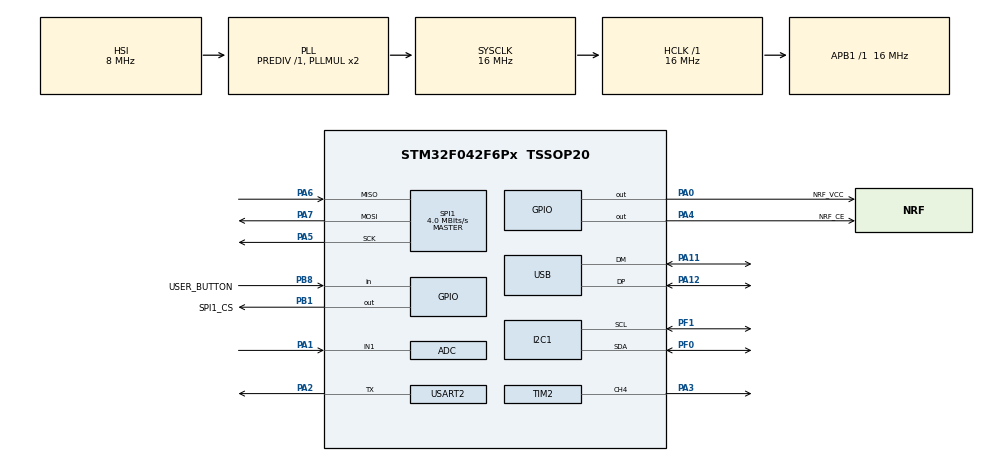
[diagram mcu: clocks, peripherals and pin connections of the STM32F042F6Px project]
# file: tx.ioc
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ADC.ClockPrescaler=ADC_CLOCK_ASYNC_DIV1
ADC.ContinuousConvMode=DISABLE
ADC.DMAContinuousRequests=DISABLE
ADC.DataAlign=ADC_DATAALIGN_RIGHT
ADC.DiscontinuousConvMode=DISABLE
ADC.EOCSelection=ADC_EOC_SINGLE_CONV
ADC.EnableAnalogWatchDog=false
ADC.ExternalTrigConv=ADC_SOFTWARE_START
ADC.ExternalTrigConvEdge=ADC_EXTERNALTRIGCONVEDGE_NONE
ADC.LowPowerAutoPowerOff=DISABLE
ADC.LowPowerAutoWait=DISABLE
ADC.Overrun=ADC_OVR_DATA_PRESERVED
ADC.Resolution=ADC_RESOLUTION_8B
ADC.SamplingTime=ADC_SAMPLETIME_71CYCLES_5
ADC.ScanConvMode=ADC_SCAN_DIRECTION_FORWARD
I2C1.Timing=0x00303D5B
IWDG.Prescaler=IWDG_PRESCALER_32
Mcu.Family=STM32F0
Mcu.Name=STM32F042F6Px
Mcu.Package=TSSOP20
NVIC.RTC_IRQn=true\:1\:0\:true\:false\:true\:true
NVIC.TIM17_IRQn=true\:0\:0\:false\:false\:true\:true
NVIC.USB_IRQn=true\:0\:0\:false\:false\:true\:false
PA0.GPIO_Label=NRF_VCC
PA0.GPIO_ModeDefaultOutputPP=GPIO_MODE_OUTPUT_OD
PA0.PinState=GPIO_PIN_SET
PA0.Signal=GPIO_Output
PA1.Mode=IN1
PA1.Signal=ADC_IN1
PA11.Mode=Device
PA11.Signal=USB_DM
PA12.Mode=Device
PA12.Signal=USB_DP
PA13.Mode=Serial_Wire
PA13.Signal=SYS_SWDIO
PA14.Mode=Serial_Wire
PA14.Signal=SYS_SWCLK
PA2.Mode=Half_duplex(single_wire_mode)
PA2.Signal=USART2_TX
PA3.Signal=S_TIM2_CH4
PA4.GPIO_Label=NRF_CE
PA4.Signal=GPIO_Output
PA5.Mode=Full_Duplex_Master
PA5.Signal=SPI1_SCK
PA6.Mode=Full_Duplex_Master
PA6.Signal=SPI1_MISO
PA7.Mode=Full_Duplex_Master
PA7.Signal=SPI1_MOSI
PB1.GPIO_Label=SPI1_CS
PB1.PinState=GPIO_PIN_SET
PB1.Signal=GPIO_Output
PB8.GPIO_Label=USER_BUTTON
PB8.GPIO_PuPd=GPIO_NOPULL
PB8.Signal=GPIO_Input
PF0-OSC_IN.Mode=I2C
PF0-OSC_IN.Signal=I2C1_SDA
PF1-OSC_OUT.Mode=I2C
PF1-OSC_OUT.Signal=I2C1_SCL
ProjectManager.HeapSize=0x200
ProjectManager.StackSize=0x400
ProjectManager.TargetToolchain=MDK-ARM V5
RCC.AHBFreq_Value=16000000
RCC.APB1Freq_Value=16000000
RCC.APB1TimFreq_Value=16000000
RCC.HCLKFreq_Value=16000000
RCC.I2c1ClockSelection=RCC_I2C1CLKSOURCE_SYSCLK
RCC.SYSCLKFreq_VALUE=16000000
RCC.SYSCLKSource=RCC_SYSCLKSOURCE_PLLCLK
RTC.Alarm=RTC_ALARM_A
RTC.AlarmMaskDateWeekDay=RTC_ALARMMASK_DATEWEEKDAY
RTC.AsynchPrediv=18
RTC.Format=RTC_FORMAT_BIN
RTC.Seconds_A=5
RTC.SynchPrediv=0
SH.S_TIM2_CH4.0=TIM2_CH4,PWM Generation4 CH4
SPI1.BaudRatePrescaler=SPI_BAUDRATEPRESCALER_4
SPI1.CalculateBaudRate=4.0 MBits/s
SPI1.DataSize=SPI_DATASIZE_8BIT
SPI1.Direction=SPI_DIRECTION_2LINES
SPI1.Mode=SPI_MODE_MASTER
SPI1.VirtualType=VM_MASTER
TIM17.Period=16666
TIM17.Prescaler=15
TIM2.Channel-PWM\ Generation4\ CH4=TIM_CHANNEL_4
TIM2.Period=255
TIM2.Prescaler=799
USART2.BaudRate=115200
USART2.DMADisableonRxErrorParam=UART_ADVFEATURE_DMA_DISABLEONRXERROR
USART2.Mode=MODE_TX
USART2.OverrunDisableParam=UART_ADVFEATURE_OVERRUN_DISABLE
USART2.TxPinLevelInvertParam=UART_ADVFEATURE_TXINV_DISABLE
USART2.VirtualMode-Half_duplex(single_wire_mode)=VM_ASYNC
USB_DEVICE.APP_RX_DATA_SIZE=256
USB_DEVICE.APP_TX_DATA_SIZE=256
USB_DEVICE.CLASS_NAME_FS=CDC
USB_DEVICE.MANUFACTURER_STRING=dekuNukem
USB_DEVICE.PID_CDC_FS=42069
USB_DEVICE.PRODUCT_STRING_CDC_FS=Daytripper Virtual Serial Port
USB_DEVICE.VID=6998
USB_DEVICE.VirtualMode=Cdc
USB_DEVICE.VirtualModeFS=Cdc_FS
VP_IWDG_VS_IWDG.Mode=IWDG_Activate
VP_RTC_VS_RTC_Activate.Mode=RTC_Enabled
VP_RTC_VS_RTC_Alarm_A_Intern.Mode=Alarm A
VP_RTC_VS_RTC_Calendar.Mode=RTC_Calendar
VP_SYS_VS_PINREMAP.Mode=PINREMAP
VP_TIM17_VS_ClockSourceINT.Mode=Enable_Timer
VP_TIM2_VS_ClockSourceINT.Mode=Internal
VP_USB_DEVICE_VS_USB_DEVICE_CDC_FS.Mode=CDC_FS
board=custom

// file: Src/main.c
/**
  ******************************************************************************
  * @file           : main.c
  * @brief          : Main program body
  ******************************************************************************
  * This notice applies to any and all portions of this file
  * that are not between comment pairs USER CODE BEGIN and
  * USER CODE END. Other portions of this file, whether
  * inserted by the user or by software development tools
  * are owned by their respective copyright owners.
  *
  * Copyright (c) 2020 STMicroelectronics International N.V.
  * All rights reserved.
  *
  * Redistribution and use in source and binary forms, with or without
  * modification, are permitted, provided that the following conditions are met:
  *
  * 1. Redistribution of source code must retain the above copyright notice,
  *    this list of conditions and the following disclaimer.
  * 2. Redistributions in binary form must reproduce the above copyright notice,
  *    this list of conditions and the following disclaimer in the documentation
  *    and/or other materials provided with the distribution.
  * 3. Neither the name of STMicroelectronics nor the names of other
  *    contributors to this software may be used to endorse or promote products
  *    derived from this software without specific written permission.
  * 4. This software, including modifications and/or derivative works of this
  *    software, must execute solely and exclusively on microcontroller or
  *    microprocessor devices manufactured by or for STMicroelectronics.
  * 5. Redistribution and use of this software other than as permitted under
  *    this license is void and will automatically terminate your rights under
  *    this license.
  *
  * THIS SOFTWARE IS PROVIDED BY STMICROELECTRONICS AND CONTRIBUTORS "AS IS"
  * AND ANY EXPRESS, IMPLIED OR STATUTORY WARRANTIES, INCLUDING, BUT NOT
  * LIMITED TO, THE IMPLIED WARRANTIES OF MERCHANTABILITY, FITNESS FOR A
  * PARTICULAR PURPOSE AND NON-INFRINGEMENT OF THIRD PARTY INTELLECTUAL PROPERTY
  * RIGHTS ARE DISCLAIMED TO THE FULLEST EXTENT PERMITTED BY LAW. IN NO EVENT
  * SHALL STMICROELECTRONICS OR CONTRIBUTORS BE LIABLE FOR ANY DIRECT, INDIRECT,
  * INCIDENTAL, SPECIAL, EXEMPLARY, OR CONSEQUENTIAL DAMAGES (INCLUDING, BUT NOT
  * LIMITED TO, PROCUREMENT OF SUBSTITUTE GOODS OR SERVICES; LOSS OF USE, DATA,
  * OR PROFITS; OR BUSINESS INTERRUPTION) HOWEVER CAUSED AND ON ANY THEORY OF
  * LIABILITY, WHETHER IN CONTRACT, STRICT LIABILITY, OR TORT (INCLUDING
  * NEGLIGENCE OR OTHERWISE) ARISING IN ANY WAY OUT OF THE USE OF THIS SOFTWARE,
  * EVEN IF ADVISED OF THE POSSIBILITY OF SUCH DAMAGE.
  *
  ******************************************************************************
  */
#include "main.h"
#include "stm32f0xx_hal.h"
#include "usb_device.h"

/* USER CODE BEGIN Includes */
#include <stdlib.h>
#include "shared.h"
#include "helpers.h"
#include "nrf24.h"
#include "VL53L0X.h"
#include "animation.h"
#include "sleepbutton.h"
#include "ee.h"
#include "my_usb.h"

#define STATE_IDLE 0
#define STATE_TRIGGERED 1

/* USER CODE END Includes */

ADC_HandleTypeDef hadc;

I2C_HandleTypeDef hi2c1;

IWDG_HandleTypeDef hiwdg;

RTC_HandleTypeDef hrtc;

SPI_HandleTypeDef hspi1;

TIM_HandleTypeDef htim2;
TIM_HandleTypeDef htim17;

UART_HandleTypeDef huart2;

/* USER CODE BEGIN PV */
/* Private variables ---------------------------------------------------------*/
uint8_t data_array[NRF_PAYLOAD_SIZE];
uint8_t rx_address[5] = {0xBE,0xAD,0xA5,0xBA,0xBE};
uint8_t tx_address[5] = {0xDA,0xBB,0xED,0xC0,0x0C};

uint16_t baseline, diff_threshold, this_reading;
int16_t diff;
uint8_t button_result;
uint8_t new_stat_packet = 1;
uint8_t current_state = STATE_IDLE;
uint16_t vbat_mV;
uint16_t power_on_time_5s;
uint16_t tof_sleep_ms;

/* USER CODE END PV */

void SystemClock_Config(void);
static void MX_GPIO_Init(void);
static void MX_USART2_UART_Init(void);
static void MX_I2C1_Init(void);
static void MX_SPI1_Init(void);
static void MX_RTC_Init(void);
static void MX_TIM2_Init(void);
static void MX_TIM17_Init(void);
static void MX_ADC_Init(void);
static void MX_IWDG_Init(void);

void HAL_TIM_MspPostInit(TIM_HandleTypeDef *htim);

/* USER CODE BEGIN PFP */
/* Private function prototypes -----------------------------------------------*/

/* USER CODE END PFP */

/* USER CODE BEGIN 0 */
int fputc(int ch, FILE *f)
{
  my_usb_putchar((uint8_t)ch);
  if(daytripper_config.print_debug_info)
    HAL_UART_Transmit(&huart2, (unsigned char *)&ch, 1, 10);
  return ch;
}

void HAL_TIM_PeriodElapsedCallback(TIM_HandleTypeDef *htim)
{
  if(htim->Instance == TIM17)
    animation_update();
}

/* USER CODE END 0 */

int main(void)
{

  /* MCU Configuration----------------------------------------------------------*/

  /* Reset of all peripherals, Initializes the Flash interface and the Systick. */
  HAL_Init();

  /* Configure the system clock */
  SystemClock_Config();

  /* Initialize all configured peripherals */
  MX_GPIO_Init();
  MX_USART2_UART_Init();
  MX_I2C1_Init();
  MX_SPI1_Init();
  MX_TIM2_Init();
  MX_TIM17_Init();
  MX_ADC_Init();
  MX_USB_DEVICE_Init();
  /* USER CODE BEGIN 2 */
  my_usb_init();
  MX_RTC_Init();
  HAL_RTC_DeactivateAlarm(&hrtc, RTC_ALARM_A);
  NRF_ON();
  VL53L0X_init();
  dt_conf_load_default(&daytripper_config);
  printf("\n\ndaytripper TX\ndekuNukem 2020\n\n");
  dt_conf_load(&daytripper_config);
  dt_conf_print(&daytripper_config);
  animation_init(&htim17, &htim2);
  start_animation(ANIMATION_TYPE_BREATHING);
  HAL_Delay(2000);
  check_battery(&vbat_mV);

  // this should be behind check_battery, so it can completely shut down in low battery situation
  MX_IWDG_Init();
  /* USER CODE END 2 */

  /* Infinite loop */
  /* USER CODE BEGIN WHILE */
  setTimeout(500);
  // in microseconds, longer time better accruacy, but consumes more power
  setMeasurementTimingBudget(daytripper_config.tof_timing_budget_ms * 1000); // default 33000

  // printf("initializing NRF...");
  nrf24_init();
  nrf24_config(NRF_CHANNEL, NRF_PAYLOAD_SIZE);
  nrf24_tx_address(tx_address);
  nrf24_rx_address(rx_address);
  HAL_GPIO_WritePin(NRF_CE_GPIO_Port, NRF_CE_Pin, GPIO_PIN_RESET);
  HAL_GPIO_WritePin(SPI1_CS_GPIO_Port, SPI1_CS_Pin, GPIO_PIN_SET);
  // printf(" done\n");

  tof_calibrate(&baseline, &diff_threshold);
  start_animation(ANIMATION_TYPE_CONST_OFF);

  // while(1)
  // {
  //   HAL_IWDG_Refresh(&hiwdg);
  //   printf("hello world %d\n", HAL_GetTick());
  //   check_battery(&vbat_mV);
  //   // rtc_sleep(&hrtc, 500);
  //   char* result = my_usb_readline();
  //   if(result != NULL)
  //     printf("received: %s\n", result);
  //   HAL_Delay(500);
  // }

  while (1)
  {
    HAL_IWDG_Refresh(&hiwdg);
    parse_cmd(my_usb_readline());

    // every 5 seconds
    if(rtc_counter > 5000)
    {
      power_on_time_5s++; // update power-on counter
      if(power_on_time_5s % 120 == 0) // 5 * 120 = 600s = 10mins, send stat update every 10 minutes
        new_stat_packet = 1;
      check_battery(&vbat_mV);
      rtc_counter = 0;
    }
  /* USER CODE END WHILE */

  /* USER CODE BEGIN 3 */
    button_result = button_update(HAL_GPIO_ReadPin(USER_BUTTON_GPIO_Port, USER_BUTTON_Pin), rtc_sleep_count_ms);
    if(button_result == 1) // short press
    {
      iwdg_wait(20, ANIMATION_TYPE_BREATHING);
      tof_calibrate(&baseline, &diff_threshold);
      iwdg_wait(20, ANIMATION_TYPE_CONST_OFF);
      current_state = STATE_IDLE;
    }
    else if(button_result == 2) // long press
      tx_test();

    if(new_stat_packet)
    {
      build_packet_stat(data_array, vbat_mV, power_on_time_5s);
      printf("sending stat... ");
      send_packet(data_array);
      new_stat_packet = 0;
    }

    // how long to sleep while wating for ToF sensor measurement
    tof_sleep_ms = daytripper_config.tof_timing_budget_ms - 1;
    if(vbat_mV > 4300) // if charging, dont sleep while wating for ToF measurement, but still update the time count
    {
      run_time_update(tof_sleep_ms + 5);
      tof_sleep_ms = 0;
    }

    // get a new distance reading from laser ToF sensor
    this_reading = get_single_distance_reading(&is_reading_valid, tof_sleep_ms);
    diff = abs(baseline - this_reading);
    if(is_reading_valid == 0)
      goto sleep;

    // if the change in distance is big enough...
    if(current_state == STATE_IDLE && diff > diff_threshold)
    {
      uint8_t count = 0;
      uint16_t this;
      printf(">> b:%d t0:%d ", baseline, this_reading);
      // .. take another reading back-to-back, to make sure it's not sensor noise
      while(count < daytripper_config.nr_sensitivity)
      {
      	HAL_IWDG_Refresh(&hiwdg);
        this = get_single_distance_reading(&is_reading_valid, tof_sleep_ms);
        printf("t%d:%d ", count+1, this);
        if(is_reading_valid == 0)
          continue;
        if(abs(baseline - this) <= diff_threshold)
        {
          printf("X\n");
          goto sleep;
        }
        count++;
      }
      printf("\n");
      build_packet_trig(data_array, baseline, this_reading);
      send_packet(data_array);
      if(daytripper_config.use_led)
        start_animation(ANIMATION_TYPE_CONST_ON);
      current_state = STATE_TRIGGERED;
    }
    else if(current_state == STATE_TRIGGERED && diff < diff_threshold)
    {
      start_animation(ANIMATION_TYPE_CONST_OFF);
      current_state = STATE_IDLE;
    }

    sleep:
    HAL_IWDG_Refresh(&hiwdg);
    nrf24_powerDown();
    if(vbat_mV < 4300) // only sleep while on battery, when charging go full speed
      rtc_sleep(&hrtc, daytripper_config.rtc_sleep_duration_ms);
  }
  /* USER CODE END 3 */

}

void SystemClock_Config(void)
{

  RCC_OscInitTypeDef RCC_OscInitStruct;
  RCC_ClkInitTypeDef RCC_ClkInitStruct;
  RCC_PeriphCLKInitTypeDef PeriphClkInit;

    /**Initializes the CPU, AHB and APB busses clocks
    */
  RCC_OscInitStruct.OscillatorType = RCC_OSCILLATORTYPE_HSI|RCC_OSCILLATORTYPE_HSI14
                              |RCC_OSCILLATORTYPE_HSI48|RCC_OSCILLATORTYPE_LSI;
  RCC_OscInitStruct.HSIState = RCC_HSI_ON;
  RCC_OscInitStruct.HSI48State = RCC_HSI48_ON;
  RCC_OscInitStruct.HSI14State = RCC_HSI14_ON;
  RCC_OscInitStruct.HSICalibrationValue = 16;
  RCC_OscInitStruct.HSI14CalibrationValue = 16;
  RCC_OscInitStruct.LSIState = RCC_LSI_ON;
  RCC_OscInitStruct.PLL.PLLState = RCC_PLL_ON;
  RCC_OscInitStruct.PLL.PLLSource = RCC_PLLSOURCE_HSI;
  RCC_OscInitStruct.PLL.PLLMUL = RCC_PLL_MUL2;
  RCC_OscInitStruct.PLL.PREDIV = RCC_PREDIV_DIV1;
  if (HAL_RCC_OscConfig(&RCC_OscInitStruct) != HAL_OK)
  {
    _Error_Handler(__FILE__, __LINE__);
  }

    /**Initializes the CPU, AHB and APB busses clocks
    */
  RCC_ClkInitStruct.ClockType = RCC_CLOCKTYPE_HCLK|RCC_CLOCKTYPE_SYSCLK
                              |RCC_CLOCKTYPE_PCLK1;
  RCC_ClkInitStruct.SYSCLKSource = RCC_SYSCLKSOURCE_PLLCLK;
  RCC_ClkInitStruct.AHBCLKDivider = RCC_SYSCLK_DIV1;
  RCC_ClkInitStruct.APB1CLKDivider = RCC_HCLK_DIV1;

  if (HAL_RCC_ClockConfig(&RCC_ClkInitStruct, FLASH_LATENCY_0) != HAL_OK)
  {
    _Error_Handler(__FILE__, __LINE__);
  }

  PeriphClkInit.PeriphClockSelection = RCC_PERIPHCLK_USB|RCC_PERIPHCLK_I2C1
                              |RCC_PERIPHCLK_RTC;
  PeriphClkInit.I2c1ClockSelection = RCC_I2C1CLKSOURCE_SYSCLK;
  PeriphClkInit.RTCClockSelection = RCC_RTCCLKSOURCE_LSI;
  PeriphClkInit.UsbClockSelection = RCC_USBCLKSOURCE_HSI48;

  if (HAL_RCCEx_PeriphCLKConfig(&PeriphClkInit) != HAL_OK)
  {
    _Error_Handler(__FILE__, __LINE__);
  }

    /**Configure the Systick interrupt time
    */
  HAL_SYSTICK_Config(HAL_RCC_GetHCLKFreq()/1000);

    /**Configure the Systick
    */
  HAL_SYSTICK_CLKSourceConfig(SYSTICK_CLKSOURCE_HCLK);

  /* SysTick_IRQn interrupt configuration */
  HAL_NVIC_SetPriority(SysTick_IRQn, 0, 0);
}

/* ADC init function */
static void MX_ADC_Init(void)
{

  ADC_ChannelConfTypeDef sConfig;

    /**Configure the global features of the ADC (Clock, Resolution, Data Alignment and number of conversion)
    */
  hadc.Instance = ADC1;
  hadc.Init.ClockPrescaler = ADC_CLOCK_ASYNC_DIV1;
  hadc.Init.Resolution = ADC_RESOLUTION_8B;
  hadc.Init.DataAlign = ADC_DATAALIGN_RIGHT;
  hadc.Init.ScanConvMode = ADC_SCAN_DIRECTION_FORWARD;
  hadc.Init.EOCSelection = ADC_EOC_SINGLE_CONV;
  hadc.Init.LowPowerAutoWait = DISABLE;
  hadc.Init.LowPowerAutoPowerOff = DISABLE;
  hadc.Init.ContinuousConvMode = DISABLE;
  hadc.Init.DiscontinuousConvMode = DISABLE;
  hadc.Init.ExternalTrigConv = ADC_SOFTWARE_START;
  hadc.Init.ExternalTrigConvEdge = ADC_EXTERNALTRIGCONVEDGE_NONE;
  hadc.Init.DMAContinuousRequests = DISABLE;
  hadc.Init.Overrun = ADC_OVR_DATA_PRESERVED;
  if (HAL_ADC_Init(&hadc) != HAL_OK)
  {
    _Error_Handler(__FILE__, __LINE__);
  }

    /**Configure for the selected ADC regular channel to be converted.
    */
  sConfig.Channel = ADC_CHANNEL_1;
  sConfig.Rank = ADC_RANK_CHANNEL_NUMBER;
  sConfig.SamplingTime = ADC_SAMPLETIME_71CYCLES_5;
  if (HAL_ADC_ConfigChannel(&hadc, &sConfig) != HAL_OK)
  {
    _Error_Handler(__FILE__, __LINE__);
  }

}

/* I2C1 init function */
static void MX_I2C1_Init(void)
{

  hi2c1.Instance = I2C1;
  hi2c1.Init.Timing = 0x00303D5B;
  hi2c1.Init.OwnAddress1 = 0;
  hi2c1.Init.AddressingMode = I2C_ADDRESSINGMODE_7BIT;
  hi2c1.Init.DualAddressMode = I2C_DUALADDRESS_DISABLE;
  hi2c1.Init.OwnAddress2 = 0;
  hi2c1.Init.OwnAddress2Masks = I2C_OA2_NOMASK;
  hi2c1.Init.GeneralCallMode = I2C_GENERALCALL_DISABLE;
  hi2c1.Init.NoStretchMode = I2C_NOSTRETCH_DISABLE;
  if (HAL_I2C_Init(&hi2c1) != HAL_OK)
  {
    _Error_Handler(__FILE__, __LINE__);
  }

    /**Configure Analogue filter
    */
  if (HAL_I2CEx_ConfigAnalogFilter(&hi2c1, I2C_ANALOGFILTER_ENABLE) != HAL_OK)
  {
    _Error_Handler(__FILE__, __LINE__);
  }

    /**Configure Digital filter
    */
  if (HAL_I2CEx_ConfigDigitalFilter(&hi2c1, 0) != HAL_OK)
  {
    _Error_Handler(__FILE__, __LINE__);
  }

}

/* IWDG init function */
static void MX_IWDG_Init(void)
{

  hiwdg.Instance = IWDG;
  hiwdg.Init.Prescaler = IWDG_PRESCALER_256;
  hiwdg.Init.Window = 4095;
  hiwdg.Init.Reload = 4095;
  if (HAL_IWDG_Init(&hiwdg) != HAL_OK)
  {
    _Error_Handler(__FILE__, __LINE__);
  }

}

/* RTC init function */
static void MX_RTC_Init(void)
{

  RTC_TimeTypeDef sTime;
  RTC_DateTypeDef sDate;
  RTC_AlarmTypeDef sAlarm;

    /**Initialize RTC Only
    */
  hrtc.Instance = RTC;
  hrtc.Init.HourFormat = RTC_HOURFORMAT_24;
  hrtc.Init.AsynchPrediv = 18;
  hrtc.Init.SynchPrediv = 0;
  hrtc.Init.OutPut = RTC_OUTPUT_DISABLE;
  hrtc.Init.OutPutPolarity = RTC_OUTPUT_POLARITY_HIGH;
  hrtc.Init.OutPutType = RTC_OUTPUT_TYPE_OPENDRAIN;
  if (HAL_RTC_Init(&hrtc) != HAL_OK)
  {
    _Error_Handler(__FILE__, __LINE__);
  }

    /**Initialize RTC and set the Time and Date
    */
  sTime.Hours = 0;
  sTime.Minutes = 0;
  sTime.Seconds = 0;
  sTime.DayLightSaving = RTC_DAYLIGHTSAVING_NONE;
  sTime.StoreOperation = RTC_STOREOPERATION_RESET;
  if (HAL_RTC_SetTime(&hrtc, &sTime, RTC_FORMAT_BIN) != HAL_OK)
  {
    _Error_Handler(__FILE__, __LINE__);
  }

  sDate.WeekDay = RTC_WEEKDAY_MONDAY;
  sDate.Month = RTC_MONTH_JANUARY;
  sDate.Date = 1;
  sDate.Year = 0;

  if (HAL_RTC_SetDate(&hrtc, &sDate, RTC_FORMAT_BIN) != HAL_OK)
  {
    _Error_Handler(__FILE__, __LINE__);
  }

    /**Enable the Alarm A
    */
  sAlarm.AlarmTime.Hours = 0;
  sAlarm.AlarmTime.Minutes = 0;
  sAlarm.AlarmTime.Seconds = 5;
  sAlarm.AlarmTime.SubSeconds = 0;
  sAlarm.AlarmTime.DayLightSaving = RTC_DAYLIGHTSAVING_NONE;
  sAlarm.AlarmTime.StoreOperation = RTC_STOREOPERATION_RESET;
  sAlarm.AlarmMask = RTC_ALARMMASK_DATEWEEKDAY;
  sAlarm.AlarmSubSecondMask = RTC_ALARMSUBSECONDMASK_ALL;
  sAlarm.AlarmDateWeekDaySel = RTC_ALARMDATEWEEKDAYSEL_DATE;
  sAlarm.AlarmDateWeekDay = 1;
  sAlarm.Alarm = RTC_ALARM_A;
  if (HAL_RTC_SetAlarm_IT(&hrtc, &sAlarm, RTC_FORMAT_BIN) != HAL_OK)
  {
    _Error_Handler(__FILE__, __LINE__);
  }

}

/* SPI1 init function */
static void MX_SPI1_Init(void)
{

  /* SPI1 parameter configuration*/
  hspi1.Instance = SPI1;
  hspi1.Init.Mode = SPI_MODE_MASTER;
  hspi1.Init.Direction = SPI_DIRECTION_2LINES;
  hspi1.Init.DataSize = SPI_DATASIZE_8BIT;
  hspi1.Init.CLKPolarity = SPI_POLARITY_LOW;
  hspi1.Init.CLKPhase = SPI_PHASE_1EDGE;
  hspi1.Init.NSS = SPI_NSS_SOFT;
  hspi1.Init.BaudRatePrescaler = SPI_BAUDRATEPRESCALER_4;
  hspi1.Init.FirstBit = SPI_FIRSTBIT_MSB;
  hspi1.Init.TIMode = SPI_TIMODE_DISABLE;
  hspi1.Init.CRCCalculation = SPI_CRCCALCULATION_DISABLE;
  hspi1.Init.CRCPolynomial = 7;
  hspi1.Init.CRCLength = SPI_CRC_LENGTH_DATASIZE;
  hspi1.Init.NSSPMode = SPI_NSS_PULSE_ENABLE;
  if (HAL_SPI_Init(&hspi1) != HAL_OK)
  {
    _Error_Handler(__FILE__, __LINE__);
  }

}

/* TIM2 init function */
static void MX_TIM2_Init(void)
{

  TIM_ClockConfigTypeDef sClockSourceConfig;
  TIM_MasterConfigTypeDef sMasterConfig;
  TIM_OC_InitTypeDef sConfigOC;

  htim2.Instance = TIM2;
  htim2.Init.Prescaler = 799;
  htim2.Init.CounterMode = TIM_COUNTERMODE_UP;
  htim2.Init.Period = 255;
  htim2.Init.ClockDivision = TIM_CLOCKDIVISION_DIV1;
  htim2.Init.AutoReloadPreload = TIM_AUTORELOAD_PRELOAD_DISABLE;
  if (HAL_TIM_Base_Init(&htim2) != HAL_OK)
  {
    _Error_Handler(__FILE__, __LINE__);
  }

  sClockSourceConfig.ClockSource = TIM_CLOCKSOURCE_INTERNAL;
  if (HAL_TIM_ConfigClockSource(&htim2, &sClockSourceConfig) != HAL_OK)
  {
    _Error_Handler(__FILE__, __LINE__);
  }

  if (HAL_TIM_PWM_Init(&htim2) != HAL_OK)
  {
    _Error_Handler(__FILE__, __LINE__);
  }

  sMasterConfig.MasterOutputTrigger = TIM_TRGO_RESET;
  sMasterConfig.MasterSlaveMode = TIM_MASTERSLAVEMODE_DISABLE;
  if (HAL_TIMEx_MasterConfigSynchronization(&htim2, &sMasterConfig) != HAL_OK)
  {
    _Error_Handler(__FILE__, __LINE__);
  }

  sConfigOC.OCMode = TIM_OCMODE_PWM1;
  sConfigOC.Pulse = 0;
  sConfigOC.OCPolarity = TIM_OCPOLARITY_HIGH;
  sConfigOC.OCFastMode = TIM_OCFAST_DISABLE;
  if (HAL_TIM_PWM_ConfigChannel(&htim2, &sConfigOC, TIM_CHANNEL_4) != HAL_OK)
  {
    _Error_Handler(__FILE__, __LINE__);
  }

  HAL_TIM_MspPostInit(&htim2);

}

/* TIM17 init function */
static void MX_TIM17_Init(void)
{

  htim17.Instance = TIM17;
  htim17.Init.Prescaler = 15;
  htim17.Init.CounterMode = TIM_COUNTERMODE_UP;
  htim17.Init.Period = 16666;
  htim17.Init.ClockDivision = TIM_CLOCKDIVISION_DIV1;
  htim17.Init.RepetitionCounter = 0;
  htim17.Init.AutoReloadPreload = TIM_AUTORELOAD_PRELOAD_DISABLE;
  if (HAL_TIM_Base_Init(&htim17) != HAL_OK)
  {
    _Error_Handler(__FILE__, __LINE__);
  }

}

/* USART2 init function */
static void MX_USART2_UART_Init(void)
{

  huart2.Instance = USART2;
  huart2.Init.BaudRate = 115200;
  huart2.Init.WordLength = UART_WORDLENGTH_8B;
  huart2.Init.StopBits = UART_STOPBITS_1;
  huart2.Init.Parity = UART_PARITY_NONE;
  huart2.Init.Mode = UART_MODE_TX;
  huart2.Init.HwFlowCtl = UART_HWCONTROL_NONE;
  huart2.Init.OverSampling = UART_OVERSAMPLING_16;
  huart2.Init.OneBitSampling = UART_ONE_BIT_SAMPLE_DISABLE;
  huart2.AdvancedInit.AdvFeatureInit = UART_ADVFEATURE_RXOVERRUNDISABLE_INIT|UART_ADVFEATURE_DMADISABLEONERROR_INIT;
  huart2.AdvancedInit.OverrunDisable = UART_ADVFEATURE_OVERRUN_DISABLE;
  huart2.AdvancedInit.DMADisableonRxError = UART_ADVFEATURE_DMA_DISABLEONRXERROR;
  if (HAL_HalfDuplex_Init(&huart2) != HAL_OK)
  {
    _Error_Handler(__FILE__, __LINE__);
  }

}

/** Configure pins as
        * Analog
        * Input
        * Output
        * EVENT_OUT
        * EXTI
*/
static void MX_GPIO_Init(void)
{

  GPIO_InitTypeDef GPIO_InitStruct;

  /* GPIO Ports Clock Enable */
  __HAL_RCC_GPIOB_CLK_ENABLE();
  __HAL_RCC_GPIOF_CLK_ENABLE();
  __HAL_RCC_GPIOA_CLK_ENABLE();

  /*Configure GPIO pin Output Level */
  HAL_GPIO_WritePin(NRF_VCC_GPIO_Port, NRF_VCC_Pin, GPIO_PIN_SET);

  /*Configure GPIO pin Output Level */
  HAL_GPIO_WritePin(NRF_CE_GPIO_Port, NRF_CE_Pin, GPIO_PIN_RESET);

  /*Configure GPIO pin Output Level */
  HAL_GPIO_WritePin(SPI1_CS_GPIO_Port, SPI1_CS_Pin, GPIO_PIN_SET);

  /*Configure GPIO pin : USER_BUTTON_Pin */
  GPIO_InitStruct.Pin = USER_BUTTON_Pin;
  GPIO_InitStruct.Mode = GPIO_MODE_INPUT;
  GPIO_InitStruct.Pull = GPIO_NOPULL;
  HAL_GPIO_Init(USER_BUTTON_GPIO_Port, &GPIO_InitStruct);

  /*Configure GPIO pin : NRF_VCC_Pin */
  GPIO_InitStruct.Pin = NRF_VCC_Pin;
  GPIO_InitStruct.Mode = GPIO_MODE_OUTPUT_OD;
  GPIO_InitStruct.Pull = GPIO_NOPULL;
  GPIO_InitStruct.Speed = GPIO_SPEED_FREQ_LOW;
  HAL_GPIO_Init(NRF_VCC_GPIO_Port, &GPIO_InitStruct);

  /*Configure GPIO pin : NRF_CE_Pin */
  GPIO_InitStruct.Pin = NRF_CE_Pin;
  GPIO_InitStruct.Mode = GPIO_MODE_OUTPUT_PP;
  GPIO_InitStruct.Pull = GPIO_NOPULL;
  GPIO_InitStruct.Speed = GPIO_SPEED_FREQ_LOW;
  HAL_GPIO_Init(NRF_CE_GPIO_Port, &GPIO_InitStruct);

  /*Configure GPIO pin : SPI1_CS_Pin */
  GPIO_InitStruct.Pin = SPI1_CS_Pin;
  GPIO_InitStruct.Mode = GPIO_MODE_OUTPUT_PP;
  GPIO_InitStruct.Pull = GPIO_NOPULL;
  GPIO_InitStruct.Speed = GPIO_SPEED_FREQ_LOW;
  HAL_GPIO_Init(SPI1_CS_GPIO_Port, &GPIO_InitStruct);

}

void _Error_Handler(char *file, int line)
{
  while(1)
  {
  }
}

/************************ (C) COPYRIGHT STMicroelectronics *****END OF FILE****/
